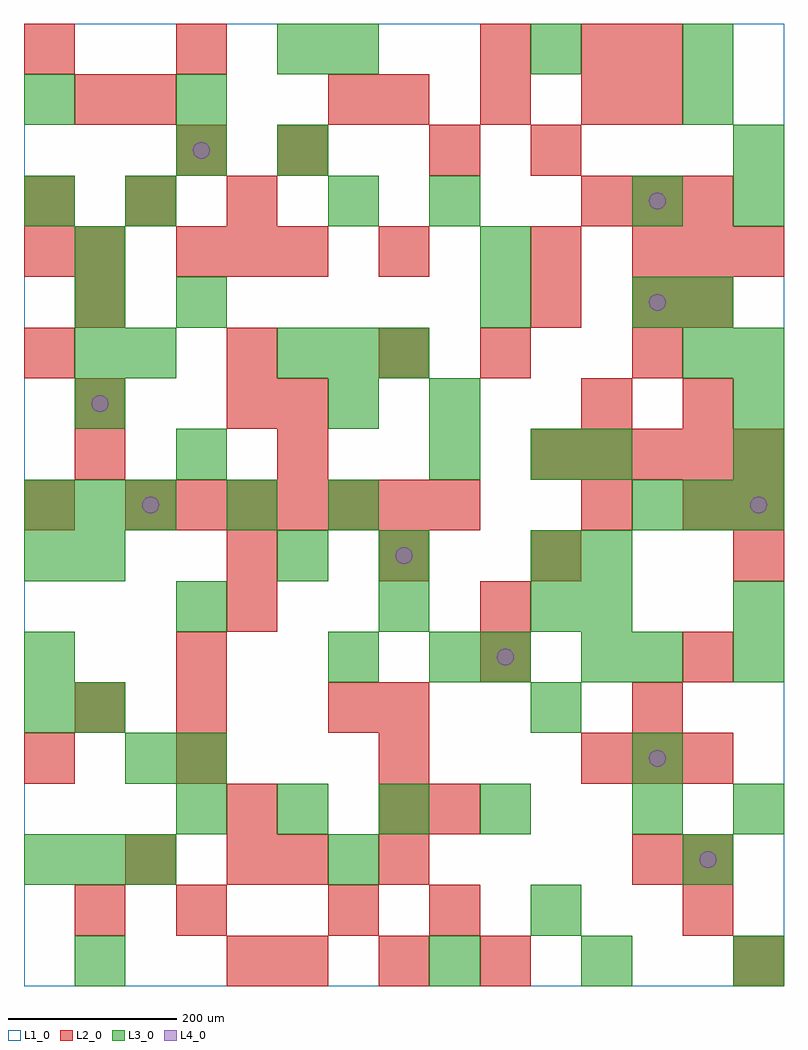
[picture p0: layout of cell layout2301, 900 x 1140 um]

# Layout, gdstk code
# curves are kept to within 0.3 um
import gdstk
lib = gdstk.Library(unit=1e-6, precision=1e-09)
def R(c, l, rs):  # rectangles x0, y0, x1, y1
    for r in rs: c.add(gdstk.rectangle(r[:2], r[2:], *l))
def A(c, l, x, y, w, h, nx, ny, dx, dy):  # array of equal rectangles
    R(c, l, [(x+i*dx, y+j*dy, x+i*dx+w, y+j*dy+h) for i in range(nx) for j in range(ny)])
def P(c, l, *ps):  # polygons
    for p in ps: c.add(gdstk.Polygon(p, *l))
L1_0 = (1, 0)
L2_0 = (2, 0)
L3_0 = (3, 0)
L4_0 = (4, 0)

layout2301 = lib.new_cell('layout2301')
R(layout2301, L1_0, [(0,0,900,1140)])
A(layout2301, L2_0, 300, 0, 60, 60, 3, 1, 120, 0)
A(layout2301, L2_0, 780, 120, 60, 60, 1, 3, 0, 120)
A(layout2301, L2_0, 240, 180, 60, 60, 1, 3, 0, 240)
A(layout2301, L2_0, 180, 240, 60, 60, 3, 1, 240, 0)
A(layout2301, L2_0, 240, 480, 60, 60, 3, 1, 180, 0)
A(layout2301, L2_0, 120, 540, 60, 60, 7, 1, 60, 0)
A(layout2301, L2_0, 780, 540, 60, 60, 1, 3, 0, 120)
A(layout2301, L2_0, 600, 600, 60, 60, 5, 1, 60, 0)
A(layout2301, L2_0, 180, 840, 60, 60, 3, 1, 60, 0)
A(layout2301, L2_0, 720, 840, 60, 60, 3, 1, 60, 0)
A(layout2301, L2_0, 0, 900, 60, 60, 3, 1, 120, 0)
A(layout2301, L2_0, 660, 900, 60, 60, 3, 1, 60, 0)
A(layout2301, L2_0, 420, 1020, 60, 60, 3, 1, 120, 0)
R(layout2301, L2_0, [(240,0,300,60), (840,0,900,60), (60,60,120,120), (180,60,240,120), (360,60,420,120), (480,60,540,120), (780,60,840,120), (120,120,180,180), (240,120,300,180), (300,120,360,180), (420,120,480,180), (720,120,780,180), (420,180,480,240), (480,180,540,240), (0,240,60,300), (720,240,780,300), (60,300,120,360), (180,300,240,360), (360,300,420,360), (420,300,480,360), (720,300,780,360), (180,360,240,420), (540,360,600,420), (540,420,600,480), (840,480,900,540), (0,540,60,600), (660,540,720,600), (840,540,900,600), (60,600,120,660), (300,600,360,660), (60,660,120,720), (300,660,360,720), (660,660,720,720), (0,720,60,780), (240,720,300,780), (420,720,480,780), (540,720,600,780), (720,720,780,780), (60,780,120,840), (600,780,660,840), (720,780,780,840), (0,840,60,900), (60,840,120,900), (420,840,480,900), (600,840,660,900), (180,960,240,1020), (300,960,360,1020), (480,960,540,1020), (600,960,660,1020), (60,1020,120,1080), (120,1020,180,1080), (360,1020,420,1080), (720,1020,780,1080), (0,1080,60,1140), (180,1080,240,1140), (540,1080,600,1140), (660,1080,720,1140), (720,1080,780,1140)])
A(layout2301, L3_0, 480, 0, 60, 60, 3, 1, 180, 0)
A(layout2301, L3_0, 0, 120, 60, 60, 3, 2, 60, 420)
A(layout2301, L3_0, 180, 180, 60, 60, 4, 1, 120, 0)
A(layout2301, L3_0, 180, 240, 60, 60, 1, 5, 0, 180)
A(layout2301, L3_0, 60, 300, 60, 60, 1, 3, 0, 180)
A(layout2301, L3_0, 660, 360, 60, 60, 1, 3, 0, 60)
A(layout2301, L3_0, 720, 540, 60, 60, 3, 1, 60, 0)
A(layout2301, L3_0, 840, 600, 60, 60, 1, 3, 0, 60)
A(layout2301, L3_0, 60, 720, 60, 60, 1, 3, 0, 60)
A(layout2301, L3_0, 300, 720, 60, 60, 3, 1, 60, 0)
R(layout2301, L3_0, [(60,0,120,60), (600,60,660,120), (360,120,420,180), (780,120,840,180), (720,180,780,240), (840,180,900,240), (120,240,180,300), (720,240,780,300), (0,300,60,360), (600,300,660,360), (0,360,60,420), (360,360,420,420), (480,360,540,420), (540,360,600,420), (720,360,780,420), (840,360,900,420), (420,420,480,480), (600,420,660,480), (840,420,900,480), (0,480,60,540), (300,480,360,540), (420,480,480,540), (600,480,660,540), (240,540,300,600), (360,540,420,600), (480,600,540,660), (600,600,660,660), (660,600,720,660), (360,660,420,720), (480,660,540,720), (120,720,180,780), (780,720,840,780), (540,780,600,840), (720,780,780,840), (780,780,840,840), (540,840,600,900), (0,900,60,960), (120,900,180,960), (360,900,420,960), (480,900,540,960), (720,900,780,960), (840,900,900,960), (300,960,360,1020), (840,960,900,1020), (0,1020,60,1080), (180,1020,240,1080), (780,1020,840,1080), (300,1080,360,1140), (360,1080,420,1140), (600,1080,660,1140), (780,1080,840,1140)])
P(layout2301, L4_0, [(100,690),(99.239,693.827),(97.071,697.071),(93.827,699.239),(90,700),(86.173,699.239),(82.929,697.071),(80.761,693.827),(80,690),(80.761,686.173),(82.929,682.929),(86.173,680.761),(90,680),(93.827,680.761),(97.071,682.929),(99.239,686.173)],
  [(160,570),(159.239,573.827),(157.071,577.071),(153.827,579.239),(150,580),(146.173,579.239),(142.929,577.071),(140.761,573.827),(140,570),(140.761,566.173),(142.929,562.929),(146.173,560.761),(150,560),(153.827,560.761),(157.071,562.929),(159.239,566.173)],
  [(220,990),(219.239,993.827),(217.071,997.071),(213.827,999.239),(210,1000),(206.173,999.239),(202.929,997.071),(200.761,993.827),(200,990),(200.761,986.173),(202.929,982.929),(206.173,980.761),(210,980),(213.827,980.761),(217.071,982.929),(219.239,986.173)],
  [(460,510),(459.239,513.827),(457.071,517.071),(453.827,519.239),(450,520),(446.173,519.239),(442.929,517.071),(440.761,513.827),(440,510),(440.761,506.173),(442.929,502.929),(446.173,500.761),(450,500),(453.827,500.761),(457.071,502.929),(459.239,506.173)],
  [(580,390),(579.239,393.827),(577.071,397.071),(573.827,399.239),(570,400),(566.173,399.239),(562.929,397.071),(560.761,393.827),(560,390),(560.761,386.173),(562.929,382.929),(566.173,380.761),(570,380),(573.827,380.761),(577.071,382.929),(579.239,386.173)],
  [(760,270),(759.239,273.827),(757.071,277.071),(753.827,279.239),(750,280),(746.173,279.239),(742.929,277.071),(740.761,273.827),(740,270),(740.761,266.173),(742.929,262.929),(746.173,260.761),(750,260),(753.827,260.761),(757.071,262.929),(759.239,266.173)],
  [(760,810),(759.239,813.827),(757.071,817.071),(753.827,819.239),(750,820),(746.173,819.239),(742.929,817.071),(740.761,813.827),(740,810),(740.761,806.173),(742.929,802.929),(746.173,800.761),(750,800),(753.827,800.761),(757.071,802.929),(759.239,806.173)],
  [(760,930),(759.239,933.827),(757.071,937.071),(753.827,939.239),(750,940),(746.173,939.239),(742.929,937.071),(740.761,933.827),(740,930),(740.761,926.173),(742.929,922.929),(746.173,920.761),(750,920),(753.827,920.761),(757.071,922.929),(759.239,926.173)],
  [(820,150),(819.239,153.827),(817.071,157.071),(813.827,159.239),(810,160),(806.173,159.239),(802.929,157.071),(800.761,153.827),(800,150),(800.761,146.173),(802.929,142.929),(806.173,140.761),(810,140),(813.827,140.761),(817.071,142.929),(819.239,146.173)],
  [(880,570),(879.239,573.827),(877.071,577.071),(873.827,579.239),(870,580),(866.173,579.239),(862.929,577.071),(860.761,573.827),(860,570),(860.761,566.173),(862.929,562.929),(866.173,560.761),(870,560),(873.827,560.761),(877.071,562.929),(879.239,566.173)])

lib.write_gds('layout2301.gds')
